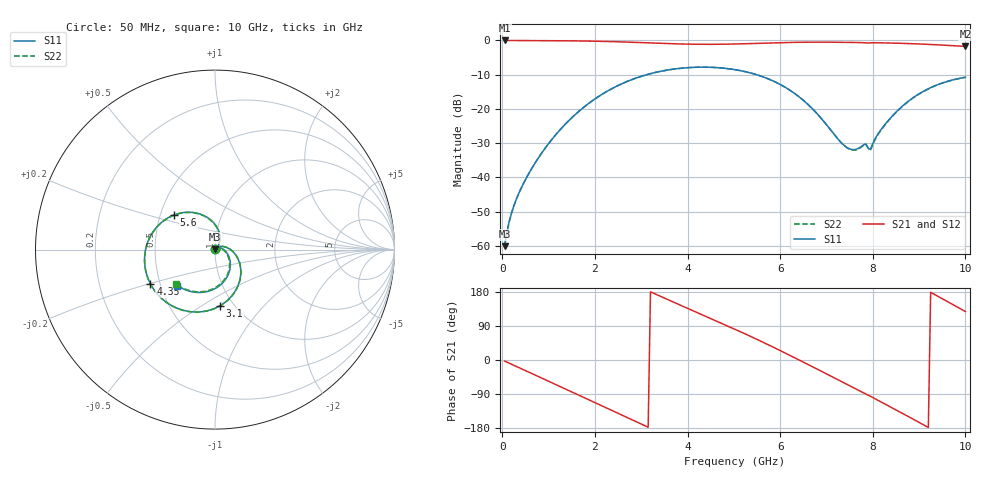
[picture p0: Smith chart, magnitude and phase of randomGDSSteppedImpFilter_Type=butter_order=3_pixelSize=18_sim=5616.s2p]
! freq	dB(S11)	phase(S11)	dB(S12)	phase(S12)
!  dB(S21)	phase(S21)	dB(S22)	phase(S22)
!S-par simulation data
#  GHz  S  DB  R 50
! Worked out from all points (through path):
!   200 points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, 50 MHz to 10 GHz, reference 50 ohm
!   highest |S21| = 0.00 dB at 50 MHz (marker M1); lowest = -1.7 dB at 10 GHz (marker M2)
!   group delay of S21, straight-line fit = 162 ps
!   lowest |S11| = -60.1 dB at 50 MHz (marker M3), VSWR 1.00, Z = 50.1 + j0.0811 ohm
!   |S11| at or under -10 dB: start of sweep to 3.118 GHz; 5.49 GHz to end of sweep
!   |S22| runs from -60.1 to -7.8 dB; largest |S21 - S12| = 0
!   S11 on the Smith chart (normalised r, x): 50 MHz: 1.00, +0.00; 3.1 GHz: 0.87, -0.60; 4.35 GHz: 0.44, -0.20; 5.6 GHz: 0.59, +0.25; 10 GHz: 0.61, -0.27
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0.05  -60.09 54.9  -0.00 -2.8  -0.00 -2.8  -60.09 55.0
0.25  -48.31 68.4  -0.03 -14.0  -0.03 -14.0  -48.31 68.6
0.6  -38.22 55.1  -0.04 -33.6  -0.04 -33.6  -38.22 55.6
1.2  -26.82 22.9  -0.09 -67.2  -0.09 -67.2  -26.82 23.4
1.75  -19.62 -8.4  -0.16 -98.3  -0.16 -98.3  -19.62 -7.9
2.5  -13.16 -51.2  -0.39 -140.9  -0.39 -140.9  -13.16 -50.8
3.1  -10.07 -84.8  -0.68 -174.6  -0.68 -174.6  -10.07 -84.5
3.4  -9.07 -101.3  -0.84 168.9  -0.84 168.9  -9.07 -100.9
4.35  -7.80 -152.0  -1.14 117.7  -1.14 117.7  -7.80 -151.6
5.05  -8.59 170.5  -1.03 79.8  -1.03 79.8  -8.59 171.0
5.6  -10.49 139.8  -0.81 48.6  -0.81 48.6  -10.49 140.3
6.2  -14.45 105.0  -0.58 12.9  -0.58 12.9  -14.44 105.8
6.7  -20.00 76.8  -0.50 -17.9  -0.50 -17.9  -19.99 77.7
7.1  -26.30 58.7  -0.52 -42.8  -0.52 -42.8  -26.29 59.4
7.55  -31.86 46.0  -0.58 -71.0  -0.58 -71.0  -32.01 44.6
7.85  -30.22 12.8  -0.70 -90.1  -0.70 -90.1  -30.34 9.6
7.95  -31.89 13.6  -0.71 -95.7  -0.71 -95.7  -32.14 9.0
8.35  -23.13 -16.2  -0.75 -121.8  -0.75 -121.8  -23.26 -19.1
8.75  -17.94 -47.7  -0.90 -148.0  -0.90 -148.0  -18.01 -50.0
9.15  -14.45 -76.7  -1.12 -174.7  -1.12 -174.7  -14.49 -78.6
9.55  -12.21 -104.7  -1.39 158.4  -1.39 158.4  -12.24 -106.5
10  -10.75 -136.2  -1.74 127.9  -1.74 127.9  -10.77 -138.0
